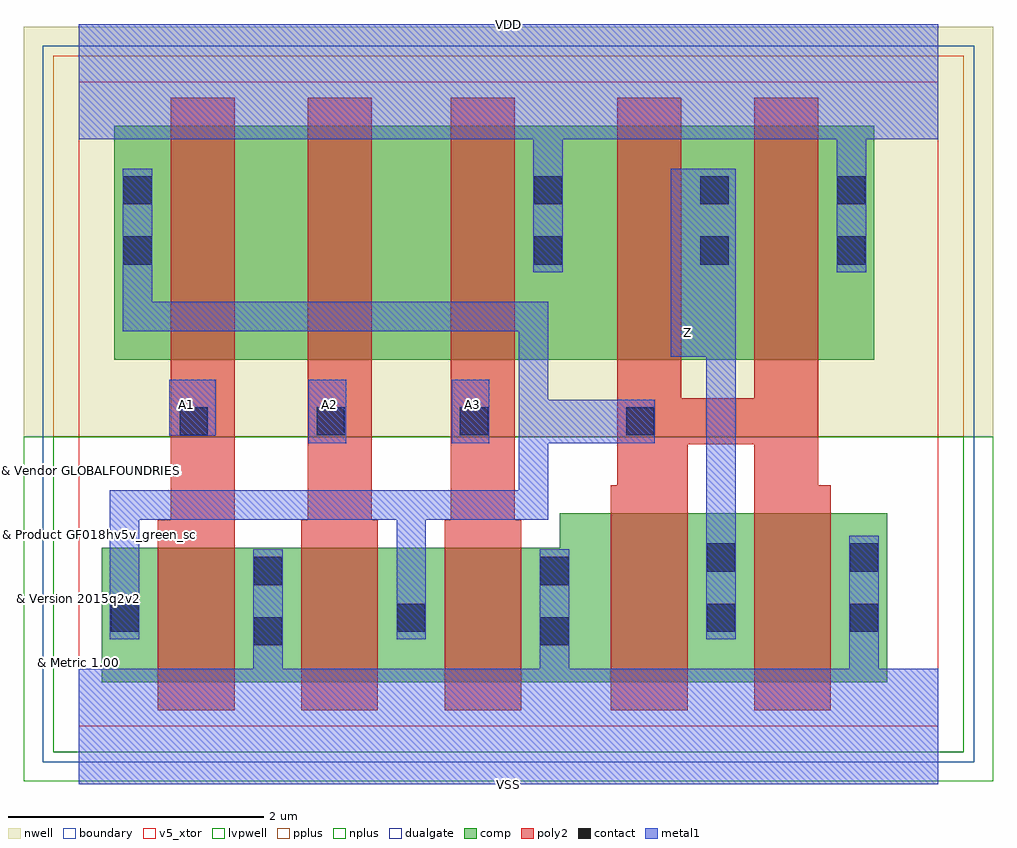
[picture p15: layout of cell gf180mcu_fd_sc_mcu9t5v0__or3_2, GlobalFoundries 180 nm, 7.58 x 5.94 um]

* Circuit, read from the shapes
.subckt gf180mcu_fd_sc_mcu9t5v0__or3_2 A1 A2 A3 VDD VSS Z
XM1 VSS A1 n1 VSUBS nfet_05v0 w=1.05u l=0.6u
XM2 n1 A2 VSS VSUBS nfet_05v0 w=1.05u l=0.6u
XM3 VSS A3 n1 VSUBS nfet_05v0 w=1.05u l=0.6u
XM4 Z n1 VSS VSUBS nfet_05v0 w=1.32u l=0.6u m=2
XM5 n2 A1 n1 n3 pfet_05v0 w=1.83u l=0.5u
XM6 n4 A2 n2 n3 pfet_05v0 w=1.83u l=0.5u
XM7 VDD A3 n4 n3 pfet_05v0 w=1.83u l=0.5u
XM8 Z n1 VDD n3 pfet_05v0 w=1.83u l=0.5u m=2
.ends

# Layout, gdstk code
import gdstk
lib = gdstk.Library(unit=1e-6, precision=1e-09)
def R(c, l, rs):  # rectangles x0, y0, x1, y1
    for r in rs: c.add(gdstk.rectangle(r[:2], r[2:], *l))
def P(c, l, *ps):  # polygons
    for p in ps: c.add(gdstk.Polygon(p, *l))
boundary = (0, 0)
nwell = (21, 0)
comp = (22, 0)
poly2 = (30, 0)
pplus = (31, 0)
nplus = (32, 0)
contact = (33, 0)
metal1 = (34, 0)
dualgate = (55, 0)
v5_xtor = (112, 1)
lvpwell = (204, 0)

gf180mcu_fd_sc_mcu9t5v0_ = lib.new_cell('gf180mcu_fd_sc_mcu9t5v0__or3_2')
R(gf180mcu_fd_sc_mcu9t5v0_, boundary, [(0,0,6.72,5.04)])
R(gf180mcu_fd_sc_mcu9t5v0_, nwell, [(-0.43,2.265,7.15,5.47)])
R(gf180mcu_fd_sc_mcu9t5v0_, comp, [(0.28,2.865,6.22,4.695)])
P(gf180mcu_fd_sc_mcu9t5v0_, comp, [(0.18,0.345),(0.18,1.395),(3.76,1.395),(3.76,1.665),(6.32,1.665),(6.32,0.345)])
P(gf180mcu_fd_sc_mcu9t5v0_, poly2, [(0.62,0.125),(0.62,1.615),(0.72,1.615),(0.72,4.915),(1.22,4.915),(1.22,0.125)],
  [(1.74,0.125),(1.74,1.615),(1.79,1.615),(1.79,4.915),(2.29,4.915),(2.29,1.615),(2.34,1.615),(2.34,0.125)],
  [(2.86,0.125),(2.86,1.615),(2.91,1.615),(2.91,4.915),(3.41,4.915),(3.41,1.615),(3.46,1.615),(3.46,0.125)],
  [(4.16,0.125),(4.16,1.885),(4.21,1.885),(4.21,4.915),(4.71,4.915),(4.71,2.565),(5.28,2.565),(5.28,4.915),(5.78,4.915),(5.78,1.885),(5.88,1.885),(5.88,0.125),(5.28,0.125),(5.28,2.205),(4.76,2.205),(4.76,0.125)])
R(gf180mcu_fd_sc_mcu9t5v0_, pplus, [(-0.2,2.265,6.92,5.24)])
R(gf180mcu_fd_sc_mcu9t5v0_, nplus, [(-0.2,-0.2,6.92,2.265)])
R(gf180mcu_fd_sc_mcu9t5v0_, contact, [(1.37,0.635,1.59,0.855), (3.61,0.635,3.83,0.855), (0.25,0.74,0.47,0.96), (2.49,0.74,2.71,0.96), (4.91,0.74,5.13,0.96), (6.03,0.74,6.25,0.96), (1.37,1.105,1.59,1.325), (3.61,1.105,3.83,1.325), (4.91,1.21,5.13,1.43), (6.03,1.21,6.25,1.43), (0.79,2.275,1.01,2.495), (1.86,2.275,2.08,2.495), (2.98,2.275,3.2,2.495), (4.28,2.275,4.5,2.495), (0.35,3.61,0.57,3.83), (3.56,3.61,3.78,3.83), (4.86,3.61,5.08,3.83), (5.93,3.61,6.15,3.83), (0.35,4.08,0.57,4.3), (3.56,4.08,3.78,4.3), (4.86,4.08,5.08,4.3), (5.93,4.08,6.15,4.3)])
R(gf180mcu_fd_sc_mcu9t5v0_, metal1, [(1.795,2.215,2.09,2.71), (2.915,2.215,3.21,2.71), (0.71,2.27,1.07,2.71)])
P(gf180mcu_fd_sc_mcu9t5v0_, metal1, [(0.245,0.68),(0.245,1.845),(3.44,1.845),(3.44,3.09),(0.345,3.09),(0.345,4.36),(0.575,4.36),(0.575,3.32),(3.67,3.32),(3.67,2.555),(4.505,2.555),(4.505,2.215),(3.67,2.215),(3.67,1.615),(2.715,1.615),(2.715,0.68),(2.485,0.68),(2.485,1.615),(0.475,1.615),(0.475,0.68)],
  [(4.905,0.68),(4.905,2.89),(4.63,2.89),(4.63,4.36),(5.135,4.36),(5.135,0.68)],
  [(0,-0.45),(0,0.45),(1.365,0.45),(1.365,1.385),(1.595,1.385),(1.595,0.45),(3.605,0.45),(3.605,1.385),(3.835,1.385),(3.835,0.45),(6.025,0.45),(6.025,1.49),(6.255,1.49),(6.255,0.45),(6.72,0.45),(6.72,-0.45)],
  [(3.555,3.55),(3.555,4.59),(0,4.59),(0,5.49),(6.72,5.49),(6.72,4.59),(6.155,4.59),(6.155,3.55),(5.925,3.55),(5.925,4.59),(3.785,4.59),(3.785,3.55)])
R(gf180mcu_fd_sc_mcu9t5v0_, dualgate, [(-0.28,-0.28,7,5.32)])
R(gf180mcu_fd_sc_mcu9t5v0_, v5_xtor, [(0,0,6.72,5.04)])
R(gf180mcu_fd_sc_mcu9t5v0_, lvpwell, [(-0.43,-0.43,7.15,2.265)])
gf180mcu_fd_sc_mcu9t5v0_.add(gdstk.Label('A1', (0.84,2.52), layer=34, texttype=10))
gf180mcu_fd_sc_mcu9t5v0_.add(gdstk.Label('A2', (1.96,2.52), layer=34, texttype=10))
gf180mcu_fd_sc_mcu9t5v0_.add(gdstk.Label('A3', (3.08,2.52), layer=34, texttype=10))
gf180mcu_fd_sc_mcu9t5v0_.add(gdstk.Label('VDD', (3.36,5.49), layer=34, texttype=10))
gf180mcu_fd_sc_mcu9t5v0_.add(gdstk.Label('VSS', (3.36,-0.45), layer=34, texttype=10))
gf180mcu_fd_sc_mcu9t5v0_.add(gdstk.Label('Z', (4.76,3.08), layer=34, texttype=10))
gf180mcu_fd_sc_mcu9t5v0_.add(gdstk.Label('& Vendor GLOBALFOUNDRIES', (0,2), layer=63, texttype=63))
gf180mcu_fd_sc_mcu9t5v0_.add(gdstk.Label('& Product GF018hv5v_green_sc9', (0,1.5), layer=63, texttype=63))
gf180mcu_fd_sc_mcu9t5v0_.add(gdstk.Label('& Version 2015q2v2', (0,1), layer=63, texttype=63))
gf180mcu_fd_sc_mcu9t5v0_.add(gdstk.Label('& Metric 1.00', (0,0.5), layer=63, texttype=63))

lib.write_gds('gf180mcu_fd_sc_mcu9t5v0__or3_2.gds')
